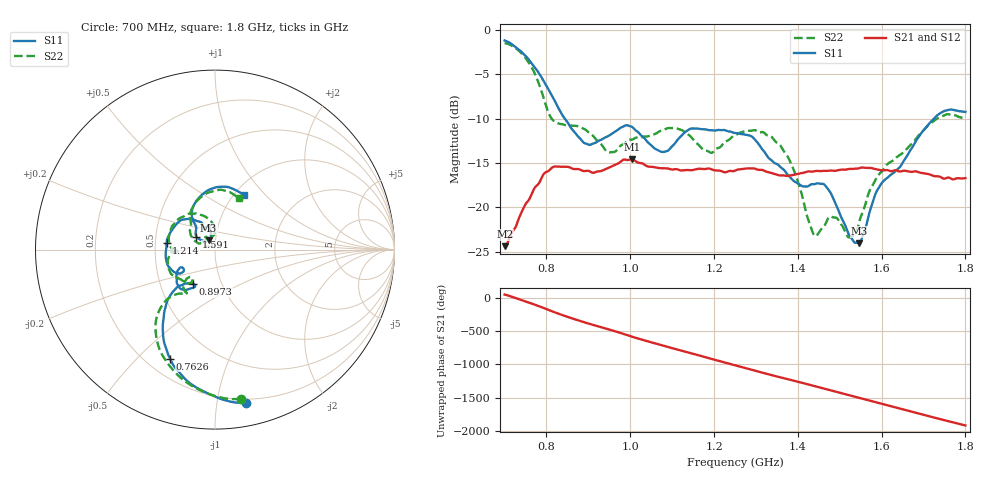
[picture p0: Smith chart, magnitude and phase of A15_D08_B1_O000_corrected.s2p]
! Created with skrf 1.9.0 (http://scikit-rf.org).
# Hz S RI R 50.0
!freq ReS11 ImS11 ReS21 ImS21 ReS12 ImS12 ReS22 ImS22
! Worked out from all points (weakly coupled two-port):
!   1601 points, 700 MHz to 1.8 GHz, reference 50 ohm
!   highest |S21| = -14.57 dB at 1.004 GHz (marker M1); lowest = -24.4 dB at 700.7 MHz (marker M2)
!   lowest |S11| = -24.1 dB at 1.546 GHz (marker M3), VSWR 1.13, Z = 46.3 + j4.78 ohm
!   |S11| at or under -10 dB: 843.6 MHz to 1.725 GHz (881.1 MHz wide, 68.6 % of centre)
!   |S22| runs from -23.4 to -1.5 dB; largest |S21 - S12| = 0.0036
!   S11 on the Smith chart (normalised r, x): 700 MHz: 0.17, -1.21; 762.6 MHz: 0.29, -0.63; 897.3 MHz: 0.73, -0.29; 1.214 GHz: 0.57, +0.05; 1.591 GHz: 0.80, +0.12; 1.8 GHz: 1.11, +0.77
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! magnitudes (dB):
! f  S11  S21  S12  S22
! 700 MHz  -1.2  -24.4  -24.2  -1.5
! 700.7 MHz  -1.2  -24.4  -24.1  -1.5
! 762.6 MHz  -3.6  -18.7  -18.7  -4.0
! 814.1 MHz  -7.5  -15.5  -15.5  -10.1
! 883.6 MHz  -12.4  -15.8  -15.7  -11.0
! 897.3 MHz  -12.9  -15.9  -16.0  -11.4
! 948.9 MHz  -11.9  -15.5  -15.5  -13.8
! 1.004 GHz  -10.9  -14.6  -14.7  -12.4
! 1.067 GHz  -13.6  -15.6  -15.5  -11.5
! 1.144 GHz  -11.1  -15.8  -15.8  -12.0
! 1.214 GHz  -11.3  -15.9  -15.9  -13.2
! 1.25 GHz  -11.6  -15.9  -15.8  -11.9
! 1.358 GHz  -15.4  -16.4  -16.4  -13.0
! 1.393 GHz  -17.1  -16.3  -16.3  -16.1
! 1.434 GHz  -17.4  -16.0  -15.9  -22.6
! 1.469 GHz  -17.7  -15.9  -15.9  -21.6
! 1.524 GHz  -23.2  -15.7  -15.7  -23.4
! 1.546 GHz  -24.1  -15.6  -15.6  -21.7
! 1.591 GHz  -18.0  -15.8  -15.7  -16.4
! 1.617 GHz  -16.5  -15.9  -15.8  -15.0
! 1.733 GHz  -9.6  -16.5  -16.5  -10.0
! 1.8 GHz  -9.2  -16.7  -16.7  -10.0
